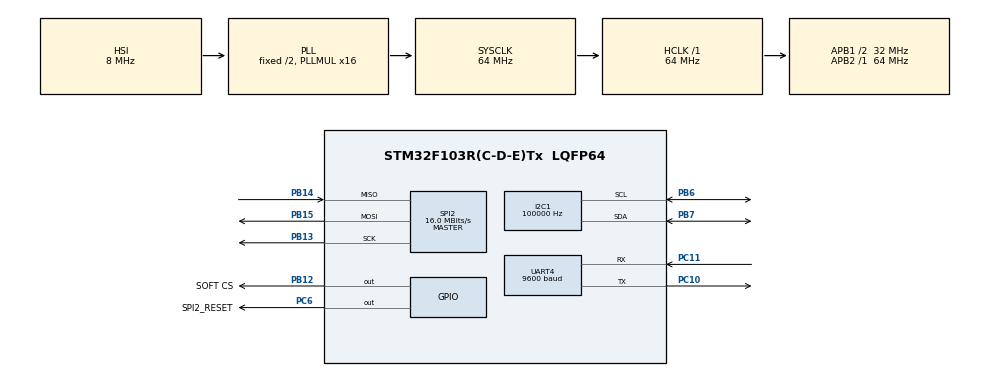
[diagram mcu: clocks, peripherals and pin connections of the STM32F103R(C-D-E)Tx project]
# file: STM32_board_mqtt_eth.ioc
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FREERTOS.INCLUDE_eTaskGetState=1
FREERTOS.INCLUDE_pcTaskGetTaskName=1
FREERTOS.INCLUDE_uxTaskGetStackHighWaterMark=1
FREERTOS.INCLUDE_xTaskGetCurrentTaskHandle=1
FREERTOS.Tasks01=defaultTask,0,128,StartDefaultTask,Default,NULL,Dynamic,NULL,NULL;LPS331Measu,2,128,LPS331MeasureFunction,Default,NULL,Dynamic,NULL,NULL;iwdtTask,3,256,iwdtTaskFunction,Default,NULL,Dynamic,NULL,NULL;stack_per,2,512,vTask_stack_periodic,Default,NULL,Dynamic,NULL,NULL;stack,2,512,vTask_stack_main,Default,NULL,Dynamic,NULL,NULL;time_update,2,128,sntpTimeUpdateTask,As external,NULL,Dynamic,NULL,NULL
FREERTOS.configGENERATE_RUN_TIME_STATS=1
FREERTOS.configMAX_TASK_NAME_LEN=12
FREERTOS.configTOTAL_HEAP_SIZE=9000
I2C1.ClockSpeed=100000
Mcu.Family=STM32F1
Mcu.Name=STM32F103R(C-D-E)Tx
Mcu.Package=LQFP64
NVIC.I2C1_ER_IRQn=true\:5\:0\:false\:false\:true\:true
NVIC.I2C1_EV_IRQn=true\:5\:0\:false\:false\:true\:true
NVIC.PriorityGroup=NVIC_PRIORITYGROUP_4
NVIC.TIM1_UP_IRQn=true\:0\:0\:false\:false\:true\:false
NVIC.TimeBase=TIM1_UP_IRQn
NVIC.TimeBaseIP=TIM1
NVIC.UART4_IRQn=true\:5\:0\:false\:false\:true\:true
PA13.Mode=Serial_Wire
PA13.Signal=SYS_JTMS-SWDIO
PA14.Mode=Serial_Wire
PA14.Signal=SYS_JTCK-SWCLK
PB12.GPIO_Label=SOFT CS
PB12.GPIO_ModeDefaultOutputPP=GPIO_MODE_OUTPUT_PP
PB12.GPIO_Speed=GPIO_SPEED_FREQ_HIGH
PB12.PinState=GPIO_PIN_SET
PB12.Signal=GPIO_Output
PB13.Mode=Full_Duplex_Master
PB13.Signal=SPI2_SCK
PB14.Mode=Full_Duplex_Master
PB14.Signal=SPI2_MISO
PB15.Mode=Full_Duplex_Master
PB15.Signal=SPI2_MOSI
PB6.Mode=I2C
PB6.Signal=I2C1_SCL
PB7.Mode=I2C
PB7.Signal=I2C1_SDA
PC10.Mode=Asynchronous
PC10.Signal=UART4_TX
PC11.Mode=Asynchronous
PC11.Signal=UART4_RX
PC6.GPIO_Label=SPI2_RESET
PC6.GPIO_Speed=GPIO_SPEED_FREQ_HIGH
PC6.PinState=GPIO_PIN_SET
PC6.Signal=GPIO_Output
ProjectManager.HeapSize=0x200
ProjectManager.StackSize=0x400
ProjectManager.TargetToolchain=TrueSTUDIO
RCC.AHBFreq_Value=64000000
RCC.APB1CLKDivider=RCC_HCLK_DIV2
RCC.APB1Freq_Value=32000000
RCC.APB1TimFreq_Value=64000000
RCC.APB2Freq_Value=64000000
RCC.APB2TimFreq_Value=64000000
RCC.HCLKFreq_Value=64000000
RCC.PLLMUL=RCC_PLL_MUL16
RCC.SYSCLKFreq_VALUE=64000000
RCC.SYSCLKSource=RCC_SYSCLKSOURCE_PLLCLK
RCC.USBFreq_Value=64000000
SPI2.BaudRatePrescaler=SPI_BAUDRATEPRESCALER_2
SPI2.CRCCalculation=SPI_CRCCALCULATION_DISABLE
SPI2.CalculateBaudRate=16.0 MBits/s
SPI2.Direction=SPI_DIRECTION_2LINES
SPI2.Mode=SPI_MODE_MASTER
SPI2.VirtualType=VM_MASTER
UART4.BaudRate=9600
UART4.Parity=PARITY_NONE
UART4.VirtualMode=Asynchronous
VP_FREERTOS_VS_ENABLE.Mode=Enabled
VP_RTC_VS_RTC_Activate.Mode=RTC_Enabled
VP_RTC_VS_RTC_Calendar.Mode=RTC_Calendar
VP_SYS_VS_tim1.Mode=TIM1
board=STM32_board_mqtt_eth

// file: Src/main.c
/**
  ******************************************************************************
  * File Name          : main.c
  * Description        : Main program body
  ******************************************************************************
  *
  * Copyright (c) 2017 STMicroelectronics International N.V.
  * All rights reserved.
  *
  * Redistribution and use in source and binary forms, with or without
  * modification, are permitted, provided that the following conditions are met:
  *
  * 1. Redistribution of source code must retain the above copyright notice,
  *    this list of conditions and the following disclaimer.
  * 2. Redistributions in binary form must reproduce the above copyright notice,
  *    this list of conditions and the following disclaimer in the documentation
  *    and/or other materials provided with the distribution.
  * 3. Neither the name of STMicroelectronics nor the names of other
  *    contributors to this software may be used to endorse or promote products
  *    derived from this software without specific written permission.
  * 4. This software, including modifications and/or derivative works of this
  *    software, must execute solely and exclusively on microcontroller or
  *    microprocessor devices manufactured by or for STMicroelectronics.
  * 5. Redistribution and use of this software other than as permitted under
  *    this license is void and will automatically terminate your rights under
  *    this license.
  *
  * THIS SOFTWARE IS PROVIDED BY STMICROELECTRONICS AND CONTRIBUTORS "AS IS"
  * AND ANY EXPRESS, IMPLIED OR STATUTORY WARRANTIES, INCLUDING, BUT NOT
  * LIMITED TO, THE IMPLIED WARRANTIES OF MERCHANTABILITY, FITNESS FOR A
  * PARTICULAR PURPOSE AND NON-INFRINGEMENT OF THIRD PARTY INTELLECTUAL PROPERTY
  * RIGHTS ARE DISCLAIMED TO THE FULLEST EXTENT PERMITTED BY LAW. IN NO EVENT
  * SHALL STMICROELECTRONICS OR CONTRIBUTORS BE LIABLE FOR ANY DIRECT, INDIRECT,
  * INCIDENTAL, SPECIAL, EXEMPLARY, OR CONSEQUENTIAL DAMAGES (INCLUDING, BUT NOT
  * LIMITED TO, PROCUREMENT OF SUBSTITUTE GOODS OR SERVICES; LOSS OF USE, DATA,
  * OR PROFITS; OR BUSINESS INTERRUPTION) HOWEVER CAUSED AND ON ANY THEORY OF
  * LIABILITY, WHETHER IN CONTRACT, STRICT LIABILITY, OR TORT (INCLUDING
  * NEGLIGENCE OR OTHERWISE) ARISING IN ANY WAY OUT OF THE USE OF THIS SOFTWARE,
  * EVEN IF ADVISED OF THE POSSIBILITY OF SUCH DAMAGE.
  *
  ******************************************************************************
  */
#include "main.h"
#include "stm32f1xx_hal.h"
#include "cmsis_os.h"
#include "i2c.h"
#include "rtc.h"
#include "spi.h"
#include "usart.h"
#include "gpio.h"

/* USER CODE BEGIN Includes */
#include "uip.h"
#include "uip_arp.h"
#include "enc28j60.h"
#include "services/sntp.h"

/* USER CODE END Includes */

/* USER CODE BEGIN PV */
/* Private variables ---------------------------------------------------------*/

/* USER CODE END PV */

void SystemClock_Config(void);
void Error_Handler(void);
void MX_FREERTOS_Init(void);

/* USER CODE BEGIN PFP */
/* Private function prototypes -----------------------------------------------*/

/* USER CODE END PFP */

int main(void)
{

  /* MCU Configuration----------------------------------------------------------*/

  /* Reset of all peripherals, Initializes the Flash interface and the Systick. */
  HAL_Init();

  /* Configure the system clock */
  SystemClock_Config();

  /* Initialize all configured peripherals */
  MX_GPIO_Init();
  MX_UART4_Init();
  MX_I2C1_Init();
  MX_SPI2_Init();
  MX_RTC_Init();

  /* USER CODE BEGIN 2 */
  struct uip_eth_addr mac;
  mac.addr[0]=0x00;
  mac.addr[1]=0x01;
  mac.addr[2]=0x02;
  mac.addr[3]=0x23;
  mac.addr[4]=0x04;
  mac.addr[5]=0x00;
  enc28j60_init(mac.addr);

  uip_init();
  uip_arp_init();

  hello_world_init();

  uip_setethaddr(mac);

  uip_ipaddr_t ipaddr;
  uip_ipaddr(ipaddr, 192, 168, 3, 111);
  uip_sethostaddr(ipaddr);
  uip_ipaddr(ipaddr, 192, 168, 3, 1);
  uip_setdraddr(ipaddr);
  uip_ipaddr(ipaddr, 255, 255, 255, 0);
  uip_setnetmask(ipaddr);

  uip_ipaddr(ipaddr, 150,254,183,15);
  sntp_init(ipaddr);
  http_server_init();
  /* USER CODE END 2 */

  /* Call init function for freertos objects (in freertos.c) */
  MX_FREERTOS_Init();

  /* Start scheduler */
  osKernelStart();

  /* We should never get here as control is now taken by the scheduler */

  /* Infinite loop */
  while (1)
  {

  }

}

/** System Clock Configuration
*/
void SystemClock_Config(void)
{

  RCC_OscInitTypeDef RCC_OscInitStruct;
  RCC_ClkInitTypeDef RCC_ClkInitStruct;
  RCC_PeriphCLKInitTypeDef PeriphClkInit;

    /**Initializes the CPU, AHB and APB busses clocks
    */
  RCC_OscInitStruct.OscillatorType = RCC_OSCILLATORTYPE_HSI|RCC_OSCILLATORTYPE_LSI;
  RCC_OscInitStruct.HSIState = RCC_HSI_ON;
  RCC_OscInitStruct.HSICalibrationValue = 16;
  RCC_OscInitStruct.LSIState = RCC_LSI_ON;
  RCC_OscInitStruct.PLL.PLLState = RCC_PLL_ON;
  RCC_OscInitStruct.PLL.PLLSource = RCC_PLLSOURCE_HSI_DIV2;
  RCC_OscInitStruct.PLL.PLLMUL = RCC_PLL_MUL16;
  if (HAL_RCC_OscConfig(&RCC_OscInitStruct) != HAL_OK)
  {
    Error_Handler();
  }

    /**Initializes the CPU, AHB and APB busses clocks
    */
  RCC_ClkInitStruct.ClockType = RCC_CLOCKTYPE_HCLK|RCC_CLOCKTYPE_SYSCLK
                              |RCC_CLOCKTYPE_PCLK1|RCC_CLOCKTYPE_PCLK2;
  RCC_ClkInitStruct.SYSCLKSource = RCC_SYSCLKSOURCE_PLLCLK;
  RCC_ClkInitStruct.AHBCLKDivider = RCC_SYSCLK_DIV1;
  RCC_ClkInitStruct.APB1CLKDivider = RCC_HCLK_DIV2;
  RCC_ClkInitStruct.APB2CLKDivider = RCC_HCLK_DIV1;

  if (HAL_RCC_ClockConfig(&RCC_ClkInitStruct, FLASH_LATENCY_2) != HAL_OK)
  {
    Error_Handler();
  }

  PeriphClkInit.PeriphClockSelection = RCC_PERIPHCLK_RTC;
  PeriphClkInit.RTCClockSelection = RCC_RTCCLKSOURCE_LSI;
  if (HAL_RCCEx_PeriphCLKConfig(&PeriphClkInit) != HAL_OK)
  {
    Error_Handler();
  }

    /**Configure the Systick interrupt time
    */
  HAL_SYSTICK_Config(HAL_RCC_GetHCLKFreq()/1000);

    /**Configure the Systick
    */
  HAL_SYSTICK_CLKSourceConfig(SYSTICK_CLKSOURCE_HCLK);

  /* SysTick_IRQn interrupt configuration */
  HAL_NVIC_SetPriority(SysTick_IRQn, 15, 0);
}

void HAL_TIM_PeriodElapsedCallback(TIM_HandleTypeDef *htim)
{
  if (htim->Instance == TIM1) {
    HAL_IncTick();
  }
}

void Error_Handler(void)
{
  while(1)
  {
  }
}

/************************ (C) COPYRIGHT STMicroelectronics *****END OF FILE****/

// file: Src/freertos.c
/**
  ******************************************************************************
  * File Name          : freertos.c
  * Description        : Code for freertos applications
  ******************************************************************************
  *
  * Copyright (c) 2017 STMicroelectronics International N.V.
  * All rights reserved.
  *
  * Redistribution and use in source and binary forms, with or without
  * modification, are permitted, provided that the following conditions are met:
  *
  * 1. Redistribution of source code must retain the above copyright notice,
  *    this list of conditions and the following disclaimer.
  * 2. Redistributions in binary form must reproduce the above copyright notice,
  *    this list of conditions and the following disclaimer in the documentation
  *    and/or other materials provided with the distribution.
  * 3. Neither the name of STMicroelectronics nor the names of other
  *    contributors to this software may be used to endorse or promote products
  *    derived from this software without specific written permission.
  * 4. This software, including modifications and/or derivative works of this
  *    software, must execute solely and exclusively on microcontroller or
  *    microprocessor devices manufactured by or for STMicroelectronics.
  * 5. Redistribution and use of this software other than as permitted under
  *    this license is void and will automatically terminate your rights under
  *    this license.
  *
  * THIS SOFTWARE IS PROVIDED BY STMICROELECTRONICS AND CONTRIBUTORS "AS IS"
  * AND ANY EXPRESS, IMPLIED OR STATUTORY WARRANTIES, INCLUDING, BUT NOT
  * LIMITED TO, THE IMPLIED WARRANTIES OF MERCHANTABILITY, FITNESS FOR A
  * PARTICULAR PURPOSE AND NON-INFRINGEMENT OF THIRD PARTY INTELLECTUAL PROPERTY
  * RIGHTS ARE DISCLAIMED TO THE FULLEST EXTENT PERMITTED BY LAW. IN NO EVENT
  * SHALL STMICROELECTRONICS OR CONTRIBUTORS BE LIABLE FOR ANY DIRECT, INDIRECT,
  * INCIDENTAL, SPECIAL, EXEMPLARY, OR CONSEQUENTIAL DAMAGES (INCLUDING, BUT NOT
  * LIMITED TO, PROCUREMENT OF SUBSTITUTE GOODS OR SERVICES; LOSS OF USE, DATA,
  * OR PROFITS; OR BUSINESS INTERRUPTION) HOWEVER CAUSED AND ON ANY THEORY OF
  * LIABILITY, WHETHER IN CONTRACT, STRICT LIABILITY, OR TORT (INCLUDING
  * NEGLIGENCE OR OTHERWISE) ARISING IN ANY WAY OUT OF THE USE OF THIS SOFTWARE,
  * EVEN IF ADVISED OF THE POSSIBILITY OF SUCH DAMAGE.
  *
  ******************************************************************************
  */

#include "FreeRTOS.h"
#include "task.h"
#include "cmsis_os.h"

/* USER CODE BEGIN Includes */
#include "userDefines.h"
#include "usart.h"
#include "i2c.h"
#include "rtc.h"
//#include "iwdg.h"
#include "logger.h"
#include "LPS331AP.h"

#include <string.h>
// UI stack

#include "uip.h"
#include "uip_arp.h"
#include "enc28j60.h"

#include "services/sntp.h"
#include "services/http_server.h"

#ifndef BUF
#define BUF ((struct uip_eth_hdr *)&uip_buf[0])
#endif
/* USER CODE END Includes */

osThreadId defaultTaskHandle;
osThreadId LPS331MeasuHandle;
osThreadId iwdtTaskHandle;
osThreadId stack_perHandle;
osThreadId stackHandle;
osThreadId time_updateHandle;

void StartDefaultTask(void const * argument);
void LPS331MeasureFunction(void const * argument);
void iwdtTaskFunction(void const * argument);
void vTask_stack_periodic(void const * argument);
void vTask_stack_main(void const * argument);
extern void sntpTimeUpdateTask(void const * argument);

void MX_FREERTOS_Init(void); /* (MISRA C 2004 rule 8.1) */

/* Hook prototypes */
void configureTimerForRunTimeStats(void);
unsigned long getRunTimeCounterValue(void);

/* USER CODE BEGIN 1 */
/* Functions needed when configGENERATE_RUN_TIME_STATS is on */
__weak void configureTimerForRunTimeStats(void)
{

}

__weak unsigned long getRunTimeCounterValue(void)
{
return 0;
}
/* USER CODE END 1 */

/* Init FreeRTOS */

void MX_FREERTOS_Init(void) {

  /* USER CODE BEGIN RTOS_MUTEX */
	/* add mutexes, ... */
	LOG_init();
  /* USER CODE END RTOS_MUTEX */

  /* Create the thread(s) */
  /* definition and creation of defaultTask */
  osThreadDef(defaultTask, StartDefaultTask, osPriorityNormal, 0, 128);
  defaultTaskHandle = osThreadCreate(osThread(defaultTask), NULL);

  /* definition and creation of LPS331Measu */
  osThreadDef(LPS331Measu, LPS331MeasureFunction, osPriorityHigh, 0, 128);
  LPS331MeasuHandle = osThreadCreate(osThread(LPS331Measu), NULL);

  /* definition and creation of iwdtTask */
  osThreadDef(iwdtTask, iwdtTaskFunction, osPriorityRealtime, 0, 256);
  iwdtTaskHandle = osThreadCreate(osThread(iwdtTask), NULL);

  /* definition and creation of stack_per */
  osThreadDef(stack_per, vTask_stack_periodic, osPriorityHigh, 0, 512);
  stack_perHandle = osThreadCreate(osThread(stack_per), NULL);

  /* definition and creation of stack */
  osThreadDef(stack, vTask_stack_main, osPriorityHigh, 0, 512);
  stackHandle = osThreadCreate(osThread(stack), NULL);

  /* definition and creation of time_update */
  osThreadDef(time_update, sntpTimeUpdateTask, osPriorityHigh, 0, 128);
  time_updateHandle = osThreadCreate(osThread(time_update), NULL);

}

/* StartDefaultTask function */
void StartDefaultTask(void const * argument)
{

  /* USER CODE BEGIN StartDefaultTask */
	/* Infinite loop */
	for (;;) {
		osDelay(1000);
		LOG(LOG_MSG, "DefaultTask", 11);
	}
  /* USER CODE END StartDefaultTask */
}

/* LPS331MeasureFunction function */
void LPS331MeasureFunction(void const * argument)
{
  /* USER CODE BEGIN LPS331MeasureFunction */
	/* Infinite loop */

	 for (;;) {
		osDelay(1000);
		}
		/**
	 // TODO make it secure
	 LPS331AP_device lps331;
	 lps331.ctrl_reg1 =LPS331A_POWER_UP | LPS331A_ODR_PRESSURE_1_HZ_TEMPERATURE_1_HZ;
	 lps331.ctrl_reg3 = 0;
	 // HAL BUG
	 lps331.address = 0x5D<<1;
	 lps331.res_conf = LPS331A_PRESSURE_384_SAMPLE_AVG | LPS331A_TEMPERATURE_128_SAMPLE_AVG;
	 lps331.i2cSource= &hi2c1;

	 uint8_t status = LPS331APInit(&lps331);

	 char buffer[40];
	 uint32_t size =  sprintf(buffer,"LPS init status %d",status);
	 // task blocking send
	 LOG(LOG_MSG,buffer,size);

	 for(;;)
	 {
	 float x,y;
	 LPS331APRead(&lps331,&x,&y);
	 osDelay(1000);
	 }

	int counter = 0;
	for (;;) {
		counter++;

		char buffer[40];
		uint8_t s = sprintf(buffer, "LSP331Task C: %d", counter);
		//LOG(LOG_MSG,"LSP331Task",10);
		LOG(LOG_MSG, buffer, s);
		osDelay(1000);
	}
	*/
  /* USER CODE END LPS331MeasureFunction */
}

/* iwdtTaskFunction function */
void iwdtTaskFunction(void const * argument)
{
  /* USER CODE BEGIN iwdtTaskFunction */
	/* Infinite loop */

#ifndef NO_IWDT

	HAL_IWDG_Start(&hiwdg);

	for(;;)
	{
		osDelay(1000);
		HAL_IWDG_Refresh(&hiwdg);
		//LOG(LOG_MSG,"IWDG Refresh",12);
	}

#else

	for (;;) {
		osDelay(1000);
		char buf [10];

		RTC_TimeTypeDef time;
		HAL_RTC_GetTime(&hrtc,&time,RTC_FORMAT_BIN);

		int count = sprintf(buf,"%d:%d:%d",time.Hours,time.Minutes,time.Seconds);
		LOG(LOG_MSG, buf, count);
	}
#endif

  /* USER CODE END iwdtTaskFunction */
}

/* vTask_stack_periodic function */
void vTask_stack_periodic(void const * argument)
{
  /* USER CODE BEGIN vTask_stack_periodic */
  /* Infinite loop */
	uint32_t i;
		uint8_t delay_arp = 0;
		volatile uint32_t st;

		for (;;) {
			vTaskDelay(configTICK_RATE_HZ/2); // ����������
			delay_arp++;
			for (i = 0; i < UIP_CONNS; i++) {
				uip_periodic(i);
				if (uip_len > 0) {
					uip_arp_out();
					enc28j60_send_packet((uint8_t *) uip_buf, uip_len);
				}
			}

	#if UIP_UDP
			for(i = 0; i < UIP_UDP_CONNS; i++) {
				uip_udp_periodic(i);
				if(uip_len > 0) {
					uip_arp_out();
					enc28j60_send_packet((uint8_t *) uip_buf, uip_len);
				}
			}
	#endif /* UIP_UDP */

			if (delay_arp >= 50) {
				delay_arp = 0;
				uip_arp_timer();
			}

			st = uxTaskGetStackHighWaterMark(NULL);
		}
  /* USER CODE END vTask_stack_periodic */
}

/* vTask_stack_main function */
void vTask_stack_main(void const * argument)
{
  /* USER CODE BEGIN vTask_stack_main */
  /* Infinite loop */

 //TODO integrate with incomming intrerupt  from enc to make it faster
	for (;;) {
		vTaskDelay(10);
		uip_len = enc28j60_recv_packet((uint8_t *) uip_buf, UIP_BUFSIZE);

		if (uip_len > 0) {
			if (BUF->type == htons(UIP_ETHTYPE_IP)) {
				uip_arp_ipin();
				uip_input();
				if (uip_len > 0) {
					uip_arp_out();
					enc28j60_send_packet((uint8_t *) uip_buf, uip_len);
				}
			} else if (BUF->type == htons(UIP_ETHTYPE_ARP)) {
				uip_arp_arpin();
				if (uip_len > 0) {
					enc28j60_send_packet((uint8_t *) uip_buf, uip_len);
				}
			}
		}
		taskYIELD();
	}
  /* USER CODE END vTask_stack_main */
}

/* USER CODE BEGIN Application */
void uip_log(char *msg) {
	LOG(LOG_MSG, msg, strlen(msg) );
}
/* USER CODE END Application */

/************************ (C) COPYRIGHT STMicroelectronics *****END OF FILE****/
